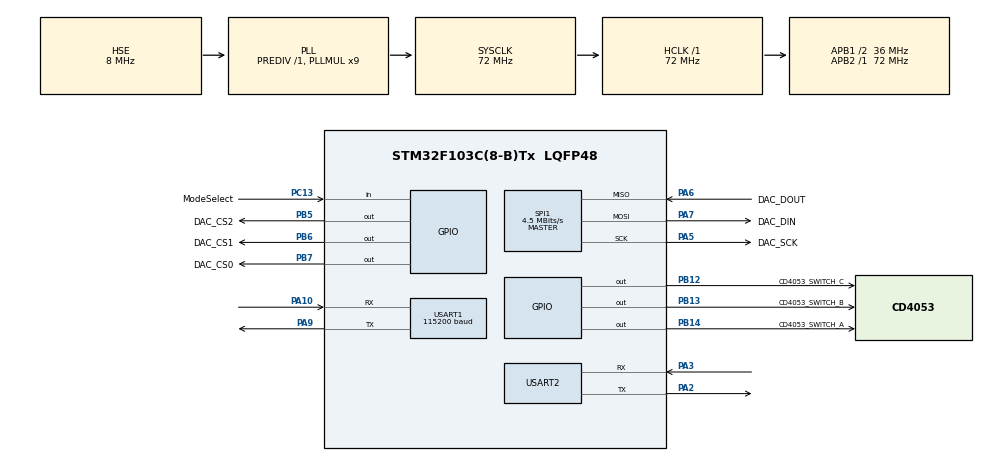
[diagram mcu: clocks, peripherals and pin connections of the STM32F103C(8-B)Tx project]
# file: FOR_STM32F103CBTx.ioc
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Dma.Request0=USART1_RX
Dma.Request1=USART2_TX
Dma.USART1_RX.0.Direction=DMA_PERIPH_TO_MEMORY
Dma.USART1_RX.0.Instance=DMA1_Channel5
Dma.USART1_RX.0.MemDataAlignment=DMA_MDATAALIGN_BYTE
Dma.USART1_RX.0.MemInc=DMA_MINC_DISABLE
Dma.USART1_RX.0.Mode=DMA_CIRCULAR
Dma.USART1_RX.0.PeriphDataAlignment=DMA_PDATAALIGN_BYTE
Dma.USART1_RX.0.PeriphInc=DMA_PINC_DISABLE
Dma.USART1_RX.0.Priority=DMA_PRIORITY_HIGH
Dma.USART2_TX.1.Direction=DMA_MEMORY_TO_PERIPH
Dma.USART2_TX.1.Instance=DMA1_Channel7
Dma.USART2_TX.1.MemDataAlignment=DMA_MDATAALIGN_BYTE
Dma.USART2_TX.1.MemInc=DMA_MINC_DISABLE
Dma.USART2_TX.1.Mode=DMA_NORMAL
Dma.USART2_TX.1.PeriphDataAlignment=DMA_PDATAALIGN_BYTE
Dma.USART2_TX.1.PeriphInc=DMA_PINC_DISABLE
Dma.USART2_TX.1.Priority=DMA_PRIORITY_LOW
FREERTOS.INCLUDE_uxTaskGetStackHighWaterMark=1
FREERTOS.Queues01=ReceiveDataQueue,128,uint8_t,NULL;PrintQueues,512,uint8_t,NULL
FREERTOS.Tasks01=MainTask,-1,128,StartMainTask,Default;DataParseTask,0,160,StartDataParseTask,Default;DataProcessTask,1,256,StartDataProcessTask,Default;DataOutTask,2,160,StartDataOutTask,Default;PrintTask,-1,128,StartPrintTask,Default
FREERTOS.configCHECK_FOR_STACK_OVERFLOW=2
FREERTOS.configMAX_TASK_NAME_LEN=32
FREERTOS.configTOTAL_HEAP_SIZE=15360
FREERTOS.configUSE_IDLE_HOOK=1
Mcu.Family=STM32F1
Mcu.Name=STM32F103C(8-B)Tx
Mcu.Package=LQFP48
NVIC.DMA1_Channel5_IRQn=true\:5\:0\:false\:false\:true\:true
NVIC.DMA1_Channel7_IRQn=true\:5\:0\:false\:false\:true\:true
NVIC.PriorityGroup=NVIC_PRIORITYGROUP_4
NVIC.TIM1_UP_IRQn=true\:0\:0\:false\:false\:true\:false
NVIC.TimeBase=TIM1_UP_IRQn
NVIC.TimeBaseIP=TIM1
NVIC.USART1_IRQn=true\:5\:0\:false\:false\:true\:true
PA10.Mode=Asynchronous
PA10.Signal=USART1_RX
PA13.Mode=Serial_Wire
PA13.Signal=SYS_JTMS-SWDIO
PA14.Mode=Serial_Wire
PA14.Signal=SYS_JTCK-SWCLK
PA2.Mode=Asynchronous
PA2.Signal=USART2_TX
PA3.Mode=Asynchronous
PA3.Signal=USART2_RX
PA5.GPIO_Label=DAC_SCK
PA5.Mode=Full_Duplex_Master
PA5.Signal=SPI1_SCK
PA6.GPIO_Label=DAC_DOUT
PA6.Mode=Full_Duplex_Master
PA6.Signal=SPI1_MISO
PA7.GPIO_Label=DAC_DIN
PA7.Mode=Full_Duplex_Master
PA7.Signal=SPI1_MOSI
PA9.Mode=Asynchronous
PA9.Signal=USART1_TX
PB12.GPIO_Label=CD4053_SWITCH_C
PB12.Signal=GPIO_Output
PB13.GPIO_Label=CD4053_SWITCH_B
PB13.Signal=GPIO_Output
PB14.GPIO_Label=CD4053_SWITCH_A
PB14.Signal=GPIO_Output
PB5.GPIO_Label=DAC_CS2
PB5.GPIO_Speed=GPIO_SPEED_FREQ_MEDIUM
PB5.Signal=GPIO_Output
PB6.GPIO_Label=DAC_CS1
PB6.GPIO_Speed=GPIO_SPEED_FREQ_MEDIUM
PB6.Signal=GPIO_Output
PB7.GPIO_Label=DAC_CS0
PB7.GPIO_Speed=GPIO_SPEED_FREQ_MEDIUM
PB7.Signal=GPIO_Output
PC13-TAMPER-RTC.GPIO_Label=ModeSelect
PC13-TAMPER-RTC.GPIO_PuPd=GPIO_PULLDOWN
PC13-TAMPER-RTC.Signal=GPIO_Input
PD0-OSC_IN.Mode=HSE-External-Oscillator
PD0-OSC_IN.Signal=RCC_OSC_IN
PD1-OSC_OUT.Mode=HSE-External-Oscillator
PD1-OSC_OUT.Signal=RCC_OSC_OUT
ProjectManager.HeapSize=0x200
ProjectManager.StackSize=0x400
ProjectManager.TargetToolchain=MDK-ARM V5
RCC.AHBFreq_Value=72000000
RCC.APB1CLKDivider=RCC_HCLK_DIV2
RCC.APB1Freq_Value=36000000
RCC.APB1TimFreq_Value=72000000
RCC.APB2Freq_Value=72000000
RCC.APB2TimFreq_Value=72000000
RCC.HCLKFreq_Value=72000000
RCC.HSIState=RCC_HSI_ON
RCC.PLLMUL=RCC_PLL_MUL9
RCC.PLLSourceVirtual=RCC_PLLSOURCE_HSE
RCC.SYSCLKFreq_VALUE=72000000
RCC.SYSCLKSource=RCC_SYSCLKSOURCE_PLLCLK
RCC.USBFreq_Value=72000000
RCC.VDD_VALUE=3.3
SPI1.BaudRatePrescaler=SPI_BAUDRATEPRESCALER_16
SPI1.CalculateBaudRate=4.5 MBits/s
SPI1.DataSize=SPI_DATASIZE_8BIT
SPI1.Mode=SPI_MODE_MASTER
USART1.BaudRate=115200
VP_FREERTOS_VS_ENABLE.Mode=Enabled
VP_SYS_VS_tim1.Mode=TIM1
board=FOR_STM32F103CBTx

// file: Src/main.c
/**
  ******************************************************************************
  * File Name          : main.c
  * Description        : Main program body
  ******************************************************************************
  *
  * COPYRIGHT(c) 2016 STMicroelectronics
  *
  * Redistribution and use in source and binary forms, with or without modification,
  * are permitted provided that the following conditions are met:
  *   1. Redistributions of source code must retain the above copyright notice,
  *      this list of conditions and the following disclaimer.
  *   2. Redistributions in binary form must reproduce the above copyright notice,
  *      this list of conditions and the following disclaimer in the documentation
  *      and/or other materials provided with the distribution.
  *   3. Neither the name of STMicroelectronics nor the names of its contributors
  *      may be used to endorse or promote products derived from this software
  *      without specific prior written permission.
  *
  * THIS SOFTWARE IS PROVIDED BY THE COPYRIGHT HOLDERS AND CONTRIBUTORS "AS IS"
  * AND ANY EXPRESS OR IMPLIED WARRANTIES, INCLUDING, BUT NOT LIMITED TO, THE
  * IMPLIED WARRANTIES OF MERCHANTABILITY AND FITNESS FOR A PARTICULAR PURPOSE ARE
  * DISCLAIMED. IN NO EVENT SHALL THE COPYRIGHT HOLDER OR CONTRIBUTORS BE LIABLE
  * FOR ANY DIRECT, INDIRECT, INCIDENTAL, SPECIAL, EXEMPLARY, OR CONSEQUENTIAL
  * DAMAGES (INCLUDING, BUT NOT LIMITED TO, PROCUREMENT OF SUBSTITUTE GOODS OR
  * SERVICES; LOSS OF USE, DATA, OR PROFITS; OR BUSINESS INTERRUPTION) HOWEVER
  * CAUSED AND ON ANY THEORY OF LIABILITY, WHETHER IN CONTRACT, STRICT LIABILITY,
  * OR TORT (INCLUDING NEGLIGENCE OR OTHERWISE) ARISING IN ANY WAY OUT OF THE USE
  * OF THIS SOFTWARE, EVEN IF ADVISED OF THE POSSIBILITY OF SUCH DAMAGE.
  *
  ******************************************************************************
  */
#include "stm32f1xx_hal.h"
#include "cmsis_os.h"

/* USER CODE BEGIN Includes */
#include "data_typedef.h"
#include "bsp.h"
#include "data_process.h"
#include "data_out.h"
#include "mode_set.h"
#include "uart_received_data_parse.h"
/* USER CODE END Includes */

SPI_HandleTypeDef hspi1;

UART_HandleTypeDef huart1;
UART_HandleTypeDef huart2;
DMA_HandleTypeDef hdma_usart1_rx;
DMA_HandleTypeDef hdma_usart2_tx;

osThreadId MainTaskHandle;
osThreadId DataParseTaskHandle;
osThreadId DataProcessTaskHandle;
osThreadId DataOutTaskHandle;
osThreadId PrintTaskHandle;
osMessageQId ReceiveDataQueueHandle;
osMessageQId PrintQueuesHandle;

/* USER CODE BEGIN PV */
/* Private variables ---------------------------------------------------------*/
uint8_t gUSART1_RX_TMP;                 // 用来保存usart1接收到的数据
uint8_t gUSART2_RX_TMP;                 // 用来保存usart2接收到的数据

/* 传感器采集值邮箱 */
osMailQDef( gSenorDataMail, 4 , SensorData_t );
osMailQId  gSenorDataMail;

/* 处理结果输出邮箱 */
osMailQDef( gControlDataMail, 4 , ControlData_t );
osMailQId  gControlDataMail;

/* USER CODE END PV */

void SystemClock_Config(void);
void Error_Handler(void);
static void MX_GPIO_Init(void);
static void MX_DMA_Init(void);
static void MX_USART1_UART_Init(void);
static void MX_USART2_UART_Init(void);
static void MX_SPI1_Init(void);
void StartMainTask(void const * argument);
void StartDataParseTask(void const * argument);
void StartDataProcessTask(void const * argument);
void StartDataOutTask(void const * argument);
void StartPrintTask(void const * argument);

/* USER CODE BEGIN PFP */
/* Private function prototypes -----------------------------------------------*/

/* USER CODE END PFP */

int main(void)
{

  /* MCU Configuration----------------------------------------------------------*/

  /* Reset of all peripherals, Initializes the Flash interface and the Systick. */
  HAL_Init();

  /* Configure the system clock */
  SystemClock_Config();

  /* Initialize all configured peripherals */
  MX_GPIO_Init();
  MX_DMA_Init();
  MX_USART1_UART_Init();
  MX_USART2_UART_Init();
  MX_SPI1_Init();

  /* USER CODE BEGIN 2 */

    /* 硬件初始化开始 */
//  USART_printf( &BSP_USART_PRINT, "开始硬件初始化!\n");

  /* 初始化输出 */
  ControlOut_Init( );

  /*  初始化控制模式  */
  ModeControl_Init(  );

  /* 初始化主控模块 */
  DataProcess_Init( );

  /*启动循环接收DMA*/
  HAL_UART_Receive_DMA(&BSP_USART_SENSOR, (uint8_t*)&gUSART1_RX_TMP, 1);

  /* 硬件初始化结束 */
//  USART_printf( &BSP_USART_PRINT, "硬件初始化结束 !\n");

  /* USER CODE END 2 */

  /* Create the thread(s) */
  /* definition and creation of MainTask */
  osThreadDef(MainTask, StartMainTask, osPriorityBelowNormal, 0, 128);
  MainTaskHandle = osThreadCreate(osThread(MainTask), NULL);

  /* definition and creation of DataParseTask */
  osThreadDef(DataParseTask, StartDataParseTask, osPriorityNormal, 0, 160);
  DataParseTaskHandle = osThreadCreate(osThread(DataParseTask), NULL);

  /* definition and creation of DataProcessTask */
  osThreadDef(DataProcessTask, StartDataProcessTask, osPriorityAboveNormal, 0, 256);
  DataProcessTaskHandle = osThreadCreate(osThread(DataProcessTask), NULL);

  /* definition and creation of DataOutTask */
  osThreadDef(DataOutTask, StartDataOutTask, osPriorityHigh, 0, 160);
  DataOutTaskHandle = osThreadCreate(osThread(DataOutTask), NULL);

  /* definition and creation of PrintTask */
  osThreadDef(PrintTask, StartPrintTask, osPriorityBelowNormal, 0, 128);
  PrintTaskHandle = osThreadCreate(osThread(PrintTask), NULL);

  /* Create the queue(s) */
  /* definition and creation of ReceiveDataQueue */
  osMessageQDef(ReceiveDataQueue, 128, uint8_t);
  ReceiveDataQueueHandle = osMessageCreate(osMessageQ(ReceiveDataQueue), NULL);

  /* definition and creation of PrintQueues */
  osMessageQDef(PrintQueues, 512, uint8_t);
  PrintQueuesHandle = osMessageCreate(osMessageQ(PrintQueues), NULL);

  /* USER CODE BEGIN RTOS_QUEUES */
  /* add queues, ... */

  /* 创建传感器采集值邮箱 */
  gSenorDataMail = osMailCreate(osMailQ(gSenorDataMail), NULL);

  /* 创建处理结果输出邮箱 */
  gControlDataMail = osMailCreate(osMailQ(gSenorDataMail), NULL);

  /* USER CODE END RTOS_QUEUES */

  /* Start scheduler */
  osKernelStart();

  /* We should never get here as control is now taken by the scheduler */

  /* Infinite loop */
  while (1)
  {

  }

}

/** System Clock Configuration
*/
void SystemClock_Config(void)
{

  RCC_OscInitTypeDef RCC_OscInitStruct;
  RCC_ClkInitTypeDef RCC_ClkInitStruct;

  RCC_OscInitStruct.OscillatorType = RCC_OSCILLATORTYPE_HSE;
  RCC_OscInitStruct.HSEState = RCC_HSE_ON;
  RCC_OscInitStruct.HSEPredivValue = RCC_HSE_PREDIV_DIV1;
  RCC_OscInitStruct.PLL.PLLState = RCC_PLL_ON;
  RCC_OscInitStruct.PLL.PLLSource = RCC_PLLSOURCE_HSE;
  RCC_OscInitStruct.PLL.PLLMUL = RCC_PLL_MUL9;
  if (HAL_RCC_OscConfig(&RCC_OscInitStruct) != HAL_OK)
  {
    Error_Handler();
  }

  RCC_ClkInitStruct.ClockType = RCC_CLOCKTYPE_HCLK|RCC_CLOCKTYPE_SYSCLK
                              |RCC_CLOCKTYPE_PCLK1|RCC_CLOCKTYPE_PCLK2;
  RCC_ClkInitStruct.SYSCLKSource = RCC_SYSCLKSOURCE_PLLCLK;
  RCC_ClkInitStruct.AHBCLKDivider = RCC_SYSCLK_DIV1;
  RCC_ClkInitStruct.APB1CLKDivider = RCC_HCLK_DIV2;
  RCC_ClkInitStruct.APB2CLKDivider = RCC_HCLK_DIV1;
  if (HAL_RCC_ClockConfig(&RCC_ClkInitStruct, FLASH_LATENCY_2) != HAL_OK)
  {
    Error_Handler();
  }

  HAL_SYSTICK_Config(HAL_RCC_GetHCLKFreq()/1000);

  HAL_SYSTICK_CLKSourceConfig(SYSTICK_CLKSOURCE_HCLK);

  /* SysTick_IRQn interrupt configuration */
  HAL_NVIC_SetPriority(SysTick_IRQn, 15, 0);
}

/* SPI1 init function */
static void MX_SPI1_Init(void)
{

  hspi1.Instance = SPI1;
  hspi1.Init.Mode = SPI_MODE_MASTER;
  hspi1.Init.Direction = SPI_DIRECTION_2LINES;
  hspi1.Init.DataSize = SPI_DATASIZE_8BIT;
  hspi1.Init.CLKPolarity = SPI_POLARITY_LOW;
  hspi1.Init.CLKPhase = SPI_PHASE_1EDGE;
  hspi1.Init.NSS = SPI_NSS_SOFT;
  hspi1.Init.BaudRatePrescaler = SPI_BAUDRATEPRESCALER_16;
  hspi1.Init.FirstBit = SPI_FIRSTBIT_MSB;
  hspi1.Init.TIMode = SPI_TIMODE_DISABLE;
  hspi1.Init.CRCCalculation = SPI_CRCCALCULATION_DISABLE;
  hspi1.Init.CRCPolynomial = 10;
  if (HAL_SPI_Init(&hspi1) != HAL_OK)
  {
    Error_Handler();
  }

}

/* USART1 init function */
static void MX_USART1_UART_Init(void)
{

  huart1.Instance = USART1;
  huart1.Init.BaudRate = 115200;
  huart1.Init.WordLength = UART_WORDLENGTH_8B;
  huart1.Init.StopBits = UART_STOPBITS_1;
  huart1.Init.Parity = UART_PARITY_NONE;
  huart1.Init.Mode = UART_MODE_TX_RX;
  huart1.Init.HwFlowCtl = UART_HWCONTROL_NONE;
  huart1.Init.OverSampling = UART_OVERSAMPLING_16;
  if (HAL_UART_Init(&huart1) != HAL_OK)
  {
    Error_Handler();
  }

}

/* USART2 init function */
static void MX_USART2_UART_Init(void)
{

  huart2.Instance = USART2;
  huart2.Init.BaudRate = 115200;
  huart2.Init.WordLength = UART_WORDLENGTH_8B;
  huart2.Init.StopBits = UART_STOPBITS_1;
  huart2.Init.Parity = UART_PARITY_NONE;
  huart2.Init.Mode = UART_MODE_TX_RX;
  huart2.Init.HwFlowCtl = UART_HWCONTROL_NONE;
  huart2.Init.OverSampling = UART_OVERSAMPLING_16;
  if (HAL_UART_Init(&huart2) != HAL_OK)
  {
    Error_Handler();
  }

}

static void MX_DMA_Init(void)
{
  /* DMA controller clock enable */
  __HAL_RCC_DMA1_CLK_ENABLE();

  /* DMA interrupt init */
  /* DMA1_Channel5_IRQn interrupt configuration */
  HAL_NVIC_SetPriority(DMA1_Channel5_IRQn, 5, 0);
  HAL_NVIC_EnableIRQ(DMA1_Channel5_IRQn);
  /* DMA1_Channel7_IRQn interrupt configuration */
  HAL_NVIC_SetPriority(DMA1_Channel7_IRQn, 5, 0);
  HAL_NVIC_EnableIRQ(DMA1_Channel7_IRQn);

}

/** Configure pins as
        * Analog
        * Input
        * Output
        * EVENT_OUT
        * EXTI
*/
static void MX_GPIO_Init(void)
{

  GPIO_InitTypeDef GPIO_InitStruct;

  /* GPIO Ports Clock Enable */
  __HAL_RCC_GPIOC_CLK_ENABLE();
  __HAL_RCC_GPIOD_CLK_ENABLE();
  __HAL_RCC_GPIOA_CLK_ENABLE();
  __HAL_RCC_GPIOB_CLK_ENABLE();

  /*Configure GPIO pin : ModeSelect_Pin */
  GPIO_InitStruct.Pin = ModeSelect_Pin;
  GPIO_InitStruct.Mode = GPIO_MODE_INPUT;
  GPIO_InitStruct.Pull = GPIO_PULLDOWN;
  HAL_GPIO_Init(ModeSelect_GPIO_Port, &GPIO_InitStruct);

  /*Configure GPIO pins : CD4053_SWITCH_C_Pin CD4053_SWITCH_B_Pin CD4053_SWITCH_A_Pin */
  GPIO_InitStruct.Pin = CD4053_SWITCH_C_Pin|CD4053_SWITCH_B_Pin|CD4053_SWITCH_A_Pin;
  GPIO_InitStruct.Mode = GPIO_MODE_OUTPUT_PP;
  GPIO_InitStruct.Speed = GPIO_SPEED_FREQ_LOW;
  HAL_GPIO_Init(GPIOB, &GPIO_InitStruct);

  /*Configure GPIO pins : DAC_CS2_Pin DAC_CS1_Pin DAC_CS0_Pin */
  GPIO_InitStruct.Pin = DAC_CS2_Pin|DAC_CS1_Pin|DAC_CS0_Pin;
  GPIO_InitStruct.Mode = GPIO_MODE_OUTPUT_PP;
  GPIO_InitStruct.Speed = GPIO_SPEED_FREQ_MEDIUM;
  HAL_GPIO_Init(GPIOB, &GPIO_InitStruct);

  /*Configure GPIO pin Output Level */
  HAL_GPIO_WritePin(GPIOB, CD4053_SWITCH_C_Pin|CD4053_SWITCH_B_Pin|CD4053_SWITCH_A_Pin|DAC_CS2_Pin
                          |DAC_CS1_Pin|DAC_CS0_Pin, GPIO_PIN_RESET);

}

/* USER CODE BEGIN 4 */

/**
  * @brief  接收完成回调函数
  * @param  huart: 指向串口实例.
  * @retval None
  */
void HAL_UART_RxCpltCallback(UART_HandleTypeDef *huart)
{
  if(  USART1 == huart->Instance )
  {
      osMessagePut( ReceiveDataQueueHandle, gUSART1_RX_TMP , 0);  // 发送数据到缓冲区
  }
}

/**
  * @brief  打印任务堆栈剩余
  */
void PrintStackRest(void)
{

  SYS_DEBUG("任务栈警戒线:\n");
  SYS_DEBUG("MainTaskHandle:%d\n",(uint32_t)uxTaskGetStackHighWaterMark( MainTaskHandle) );
  SYS_DEBUG("DataParseTaskHandle:%d\n",(uint32_t)uxTaskGetStackHighWaterMark( DataParseTaskHandle) );
  SYS_DEBUG("DataProcessTaskHandle:%d\n",(uint32_t)uxTaskGetStackHighWaterMark( DataProcessTaskHandle) );
  SYS_DEBUG("DataOutTaskHandle:%d\n",(uint32_t)uxTaskGetStackHighWaterMark( DataOutTaskHandle) );
  SYS_DEBUG("PrintTaskHandle  :%d\n",(uint32_t)uxTaskGetStackHighWaterMark( PrintTaskHandle) );
}

/* USER CODE END 4 */

/* StartMainTask function */
void StartMainTask(void const * argument)
{

  /* USER CODE BEGIN 5 */
  SYS_DEBUG_TRACK();
#ifdef  DEBUG_ON
  uint32_t  l_time;
  uint32_t  c_time;
  l_time = c_time = 0;
#endif
  /* Infinite loop */
  for(;;)
  {
    SYS_DEBUG("one loop!\n");
//    PrintStackRest();

    /* 1.查询模式开关状态，如果是自动，则切换为指定的自动模式 */
    ModeControl_CheckAndSetAutoMode( CONTROL_MODE_AUTO_PITCH_ROLL  );

    /* 2.监视系统处理函数的执行时间，如果长时间没有收到数据或者没有处理，则释放飞行器 */
    DataProcess_CheackProcessTime( );

#ifdef  DEBUG_ON
    /* 用于调试 */
    c_time = osKernelSysTick();
    if(  (c_time - l_time)*portTICK_PERIOD_MS > 2000 )
    {
      SensorData_t SensorData;
      SensorData.time_boot_ms = 10000;
      SensorData.x = 0100;
      SensorData.y = 0200;
      SensorData.z = 0200;
      SensorData.convariance = 1.2;
      DataParse_PutData( &SensorData );
    }
    l_time = c_time;
#endif

    osDelay(200);
  }
  /* USER CODE END 5 */
}

/* StartDataParseTask function */
void StartDataParseTask(void const * argument)
{
  /* USER CODE BEGIN StartDataParseTask */
  uint8_t tmp;
  SYS_DEBUG_TRACK();

  /* Infinite loop */
  for(;;)
  {
    SYS_DEBUG("one loop!\n");

    /*------------------------接收并解析数据包---------------------------*/
    /* 1. 开始接收数据帧*/
     /*读取帧头1——head1 */
    xSerialGetChar( ReceiveDataQueueHandle, &tmp, osWaitForever );

    /*判断是否为帧头1——head1*/
    if( tmp == SENSOR_PROTOCOL_PACK_HEADER0 )
    {
      /*读取帧头2——head2*/
      xSerialGetChar( ReceiveDataQueueHandle, &tmp, osWaitForever );

      /*如果读到的还是帧头1，则重新读帧头2；防止重复的帧头1干扰*/
      if( tmp == SENSOR_PROTOCOL_PACK_HEADER0 )
      {
        /* 重新读取帧头2 */
        xSerialGetChar( ReceiveDataQueueHandle, &tmp, osWaitForever );
      }

      /* 验证帧头2——head2*/
      if( tmp == SENSOR_PROTOCOL_PACK_HEADER1  )
      {
        /* 读取数据段长度 len */
        uint8_t len;
        xSerialGetChar( ReceiveDataQueueHandle, &len, osWaitForever );
        if( len == SENSOR_PROTOCOL_PACK_MAX_DATA_LEN )
        {
          /* 从邮箱申请空间，用来保存读取结果 */
          SensorData_t* pSensorData;
          pSensorData = (SensorData_t *) osMailAlloc( gSenorDataMail, osWaitForever);

          /* 读取数据段内容 */
          uint8_t* ptr = (uint8_t*)pSensorData ;
          uint8_t i;
          for( i = 0; i < len; i++ )
          {
            /* 循环接收整个数据段 */
            xSerialGetChar( ReceiveDataQueueHandle, ptr++, osWaitForever );
          }

          /* 读取校验字节 */
          xSerialGetChar( ReceiveDataQueueHandle, &tmp , osWaitForever );
          if( tmp == doSumCheck( (uint8_t*)pSensorData, len ) )
          {
            /* 如果校验通过，则发送缓冲区到队列 */
            if( osOK != osMailPut( gSenorDataMail, pSensorData) )
            {
              ;   //TODO: Add something here
            }
          }else
          {
            /* 释放内存空间 */
            osMailFree( gSenorDataMail, pSensorData );
          }

        }
      }
    }

//    osDelay(1);
  }
  /* USER CODE END StartDataParseTask */
}

/* StartDataProcessTask function */
void StartDataProcessTask(void const * argument)
{
  /* USER CODE BEGIN StartDataProcessTask */
  SYS_DEBUG_TRACK();

  SensorData_t* pSensorData;
  ControlData_t* pControlData;
  /* Infinite loop */
  for(;;)
  {
    SYS_DEBUG("one loop!\n");

    /* -----| 1.从邮箱接收传感器数据   |---------------------*/
    osEvent event = osMailGet( gSenorDataMail, osWaitForever);
    pSensorData = (SensorData_t *)event.value.p;

    /* -----| 2.申请输出数据邮箱 |-------------------------- */
    pControlData = (ControlData_t *) osMailAlloc(gControlDataMail, osWaitForever);

    /* -----| 3.处理数据，处理结果存放于输出缓冲区  |--------*/
    DataProcess_DoProcess( pSensorData, pControlData  );

    /* -----| 4.发送处理结果（缓冲区）到输出邮箱 | -----------*/
    osMailPut( gControlDataMail , pControlData ) ;

    /* -----| 5.释放超声波数据缓冲区  |------------------------*/
    osMailFree( gSenorDataMail, pSensorData );

//    osDelay(1);
  }
  /* USER CODE END StartDataProcessTask */
}

/* StartDataOutTask function */
void StartDataOutTask(void const * argument)
{
  /* USER CODE BEGIN StartDataOutTask */
  SYS_DEBUG_TRACK();
  ControlData_t* pControlData;

  /* Infinite loop */
  for(;;)
  {
    SYS_DEBUG("one loop!\n");

    /* -----| 1.接收待输出数据 |--------------------*/
    osEvent event = osMailGet( gControlDataMail, osWaitForever);
    pControlData = (ControlData_t *)event.value.p;

    /* -----| 2.输出数据       |--------------------*/
    ControlOut_PutControlData( pControlData  );

    /* -----| 3.释放数据缓冲区 |--------------------*/
    osMailFree( gControlDataMail, pControlData );

    osDelay(1);
  }
  /* USER CODE END StartDataOutTask */
}

/* StartPrintTask function */
void StartPrintTask(void const * argument)
{
  /* USER CODE BEGIN StartPrintTask */
  uint8_t byte;
  /* Infinite loop */
  for(;;)
  {
    /* 从队列取出打印数据 */
    xSerialGetChar( PRINT_QUEUES_HANDLE, &byte, osWaitForever );

    /* 将Printf内容发往串口 */
    BSP_USART_SendData( &BSP_USART_PRINT, byte );

    osDelay(1);
  }
  /* USER CODE END StartPrintTask */
}

void Error_Handler(void)
{
  /* USER CODE BEGIN Error_Handler */
  /* User can add his own implementation to report the HAL error return state */
  while(1)
  {
      SYS_DEBUG_TRACK();
  }
  /* USER CODE END Error_Handler */
}

#ifdef USE_FULL_ASSERT

/**
   * @brief Reports the name of the source file and the source line number
   * where the assert_param error has occurred.
   * @param file: pointer to the source file name
   * @param line: assert_param error line source number
   * @retval None
   */
void assert_failed(uint8_t* file, uint32_t line)
{
  /* USER CODE BEGIN 6 */
  /* User can add his own implementation to report the file name and line number,*/
    USART_printf( &BSP_USART_PRINT, "Wrong parameters value: file %s on line %d\r\n", file, line) ;
  /* USER CODE END 6 */

}

#endif

/************************ (C) COPYRIGHT STMicroelectronics *****END OF FILE****/

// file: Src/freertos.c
/**
  ******************************************************************************
  * File Name          : freertos.c
  * Description        : Code for freertos applications
  ******************************************************************************
  *
  * COPYRIGHT(c) 2016 STMicroelectronics
  *
  * Redistribution and use in source and binary forms, with or without modification,
  * are permitted provided that the following conditions are met:
  *   1. Redistributions of source code must retain the above copyright notice,
  *      this list of conditions and the following disclaimer.
  *   2. Redistributions in binary form must reproduce the above copyright notice,
  *      this list of conditions and the following disclaimer in the documentation
  *      and/or other materials provided with the distribution.
  *   3. Neither the name of STMicroelectronics nor the names of its contributors
  *      may be used to endorse or promote products derived from this software
  *      without specific prior written permission.
  *
  * THIS SOFTWARE IS PROVIDED BY THE COPYRIGHT HOLDERS AND CONTRIBUTORS "AS IS"
  * AND ANY EXPRESS OR IMPLIED WARRANTIES, INCLUDING, BUT NOT LIMITED TO, THE
  * IMPLIED WARRANTIES OF MERCHANTABILITY AND FITNESS FOR A PARTICULAR PURPOSE ARE
  * DISCLAIMED. IN NO EVENT SHALL THE COPYRIGHT HOLDER OR CONTRIBUTORS BE LIABLE
  * FOR ANY DIRECT, INDIRECT, INCIDENTAL, SPECIAL, EXEMPLARY, OR CONSEQUENTIAL
  * DAMAGES (INCLUDING, BUT NOT LIMITED TO, PROCUREMENT OF SUBSTITUTE GOODS OR
  * SERVICES; LOSS OF USE, DATA, OR PROFITS; OR BUSINESS INTERRUPTION) HOWEVER
  * CAUSED AND ON ANY THEORY OF LIABILITY, WHETHER IN CONTRACT, STRICT LIABILITY,
  * OR TORT (INCLUDING NEGLIGENCE OR OTHERWISE) ARISING IN ANY WAY OUT OF THE USE
  * OF THIS SOFTWARE, EVEN IF ADVISED OF THE POSSIBILITY OF SUCH DAMAGE.
  *
  ******************************************************************************
  */

#include "FreeRTOS.h"
#include "task.h"

/* USER CODE BEGIN Includes */
#include "bsp.h"
/* USER CODE END Includes */

/* Hook prototypes */
void vApplicationIdleHook(void);
void vApplicationStackOverflowHook(xTaskHandle xTask, signed char *pcTaskName);

/* USER CODE BEGIN 2 */
void vApplicationIdleHook( void )
{
   /* vApplicationIdleHook() will only be called if configUSE_IDLE_HOOK is set
   to 1 in FreeRTOSConfig.h. It will be called on each iteration of the idle
   task. It is essential that code added to this hook function never attempts
   to block in any way (for example, call xQueueReceive() with a block time
   specified, or call vTaskDelay()). If the application makes use of the
   vTaskDelete() API function (as this demo application does) then it is also
   important that vApplicationIdleHook() is permitted to return to its calling
   function, because it is the responsibility of the idle task to clean up
   memory allocated by the kernel to any task that has since been deleted. */
}
/* USER CODE END 2 */

/* USER CODE BEGIN 4 */
void vApplicationStackOverflowHook(xTaskHandle xTask, signed char *pcTaskName)
{
   /* Run time stack overflow checking is performed if
   configCHECK_FOR_STACK_OVERFLOW is defined to 1 or 2. This hook function is
   called if a stack overflow is detected. */
  USART_printf( &BSP_USART_PRINT, "Application Stack Overflow!\n\r\n");
}
/* USER CODE END 4 */

/************************ (C) COPYRIGHT STMicroelectronics *****END OF FILE****/
